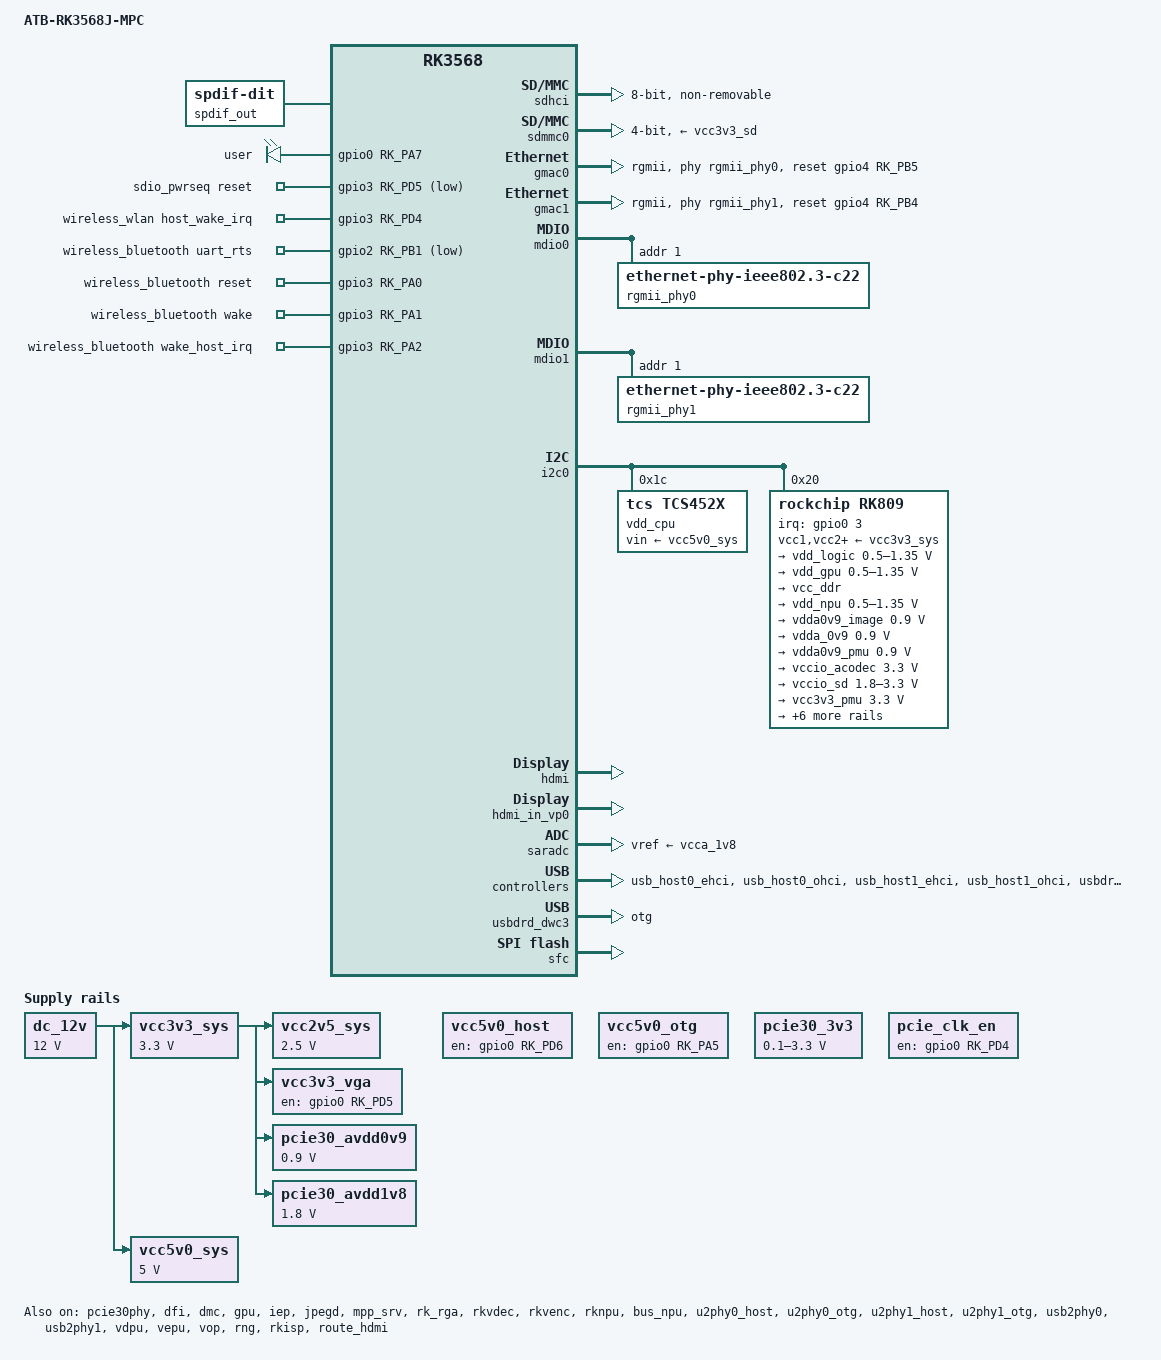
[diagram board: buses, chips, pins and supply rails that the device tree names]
/dts-v1/;

#include <dt-bindings/gpio/gpio.h>
#include <dt-bindings/pwm/pwm.h>
#include <dt-bindings/pinctrl/rockchip.h>
#include <dt-bindings/input/rk-input.h>
#include <dt-bindings/display/drm_mipi_dsi.h>
#include <dt-bindings/sensor-dev.h>
#include "rk3568.dtsi"

/ {
    compatible = "atb,atb-rk3568j-mpc", "rockchip,rk3568";
    
    model = "ATB-RK3568J-MPC";
    
    chosen: chosen {
        bootargs = "earlycon=uart8250,mmio32,0xfe660000 console=ttyFIQ0 root=/dev/mmcblk1p2=rootfs rootfstype=ext4 ro rootwait";
    };

	fiq-debugger {
		compatible = "rockchip,fiq-debugger";
		rockchip,serial-id = <2>;
		rockchip,wake-irq = <0>;
		/* If enable uart uses irq instead of fiq */
		rockchip,irq-mode-enable = <1>;
		rockchip,baudrate = <115200>;  /* Only 115200 and 1500000 */
		interrupts = <GIC_SPI 252 IRQ_TYPE_LEVEL_LOW>;
		pinctrl-names = "default";
		pinctrl-0 = <&uart2m0_xfer>;
		status = "okay";
	};

	dc_12v: dc-12v {
		compatible = "regulator-fixed";
		regulator-name = "dc_12v";
		regulator-always-on;
		regulator-boot-on;
		regulator-min-microvolt = <12000000>;
		regulator-max-microvolt = <12000000>;
	};

	vad_sound: vad-sound {
		status = "disabled";
		compatible = "rockchip,multicodecs-card";
		rockchip,card-name = "rockchip,rk3568-vad";
		rockchip,cpu = <&i2s1_8ch>;
		rockchip,codec = <&rk809_codec>, <&vad>;
	};

	vcc3v3_sys: vcc3v3-sys {
		compatible = "regulator-fixed";
		regulator-name = "vcc3v3_sys";
		regulator-always-on;
		regulator-boot-on;
		regulator-min-microvolt = <3300000>;
		regulator-max-microvolt = <3300000>;
		vin-supply = <&dc_12v>;
	};

	vcc5v0_sys: vcc5v0-sys {
		compatible = "regulator-fixed";
		regulator-name = "vcc5v0_sys";
		regulator-always-on;
		regulator-boot-on;
		regulator-min-microvolt = <5000000>;
		regulator-max-microvolt = <5000000>;
		vin-supply = <&dc_12v>;
	};

	vcc5v0_host: vcc5v0-host-regulator {
		compatible = "regulator-fixed";
		enable-active-high;
		gpio = <&gpio0 RK_PD6 GPIO_ACTIVE_HIGH>;
		pinctrl-names = "default";
		pinctrl-0 = <&vcc5v0_host_en>;
		regulator-name = "vcc5v0_host";
		regulator-always-on;
	};

	vcc5v0_otg: vcc5v0-otg-regulator {
		compatible = "regulator-fixed";
		enable-active-high;
		gpio = <&gpio0 RK_PA5 GPIO_ACTIVE_HIGH>;
		pinctrl-names = "default";
		pinctrl-0 = <&vcc5v0_otg_en>;
		regulator-name = "vcc5v0_otg";
	};

	/*vcc3v3_lcd0_n: vcc3v3-lcd0-n {
		compatible = "regulator-fixed";
		regulator-name = "vcc3v3_lcd0_n";
		regulator-boot-on;
		regulator-state-mem {
			regulator-off-in-suspend;
		};
	};

	vcc3v3_lcd1_n: vcc3v3-lcd1-n {
		compatible = "regulator-fixed";
		regulator-name = "vcc3v3_lcd1_n";
		regulator-boot-on;
		regulator-state-mem {
			regulator-off-in-suspend;
		};
	};*/

	vcc2v5_sys: vcc2v5-ddr {
		compatible = "regulator-fixed";
		regulator-name = "vcc2v5-sys";
		regulator-always-on;
		regulator-boot-on;
		regulator-min-microvolt = <2500000>;
		regulator-max-microvolt = <2500000>;
		vin-supply = <&vcc3v3_sys>;
	};

	vcc3v3_vga: vcc3v3-vga {
		compatible = "regulator-fixed";
		regulator-name = "vcc3v3_vga";
		regulator-always-on;
		regulator-boot-on;
		gpio = <&gpio0 RK_PD5 GPIO_ACTIVE_HIGH>;
		enable-active-high;
		vin-supply = <&vcc3v3_sys>;
	};

	pcie30_avdd0v9: pcie30-avdd0v9 {
		compatible = "regulator-fixed";
		regulator-name = "pcie30_avdd0v9";
		regulator-always-on;
		regulator-boot-on;
		regulator-min-microvolt = <900000>;
		regulator-max-microvolt = <900000>;
		vin-supply = <&vcc3v3_sys>;
	};

	pcie30_avdd1v8: pcie30-avdd1v8 {
		compatible = "regulator-fixed";
		regulator-name = "pcie30_avdd1v8";
		regulator-always-on;
		regulator-boot-on;
		regulator-min-microvolt = <1800000>;
		regulator-max-microvolt = <1800000>;
		vin-supply = <&vcc3v3_sys>;
	};

	pcie30_3v3: gpio-regulator {
		compatible = "regulator-gpio";
		regulator-name = "pcie30_3v3";
		regulator-min-microvolt = <100000>;
		regulator-max-microvolt = <3300000>;
	//	gpios = <&gpio0 RK_PD4 GPIO_ACTIVE_LOW>;
	//	gpios-states = <0x1>;
		states = <100000 0x0 3300000 0x1>;
	};

    
/*
    This is dummy regulator.
    It is used to have ability to activate PCIE clocks
*/
    pcie_clk_en: pcie-clk-en {
        compatible = "regulator-fixed";
        enable-active-high;
        // 1V8_PCIE_PWREN
        gpio = <&gpio0 RK_PD4 GPIO_ACTIVE_HIGH>;
        pinctrl-names = "default";
        pinctrl-0 = <&pcie_clk_en_pin>;
        regulator-name = "pcie_clk_en_pin";
        regulator-always-on;
    };
	
/*
    ATB-RK3568J-MPC

    1V8_PCIE_PWREN -> VT14(NMOS)->PCIe_EN_ -> VT15 (PMOS) -> +3.3v2_M2_CON
    0 -> 1 -> 0
    1 -> 0 -> 1

    +3.3v2_M2_CON supplies device connected to X18 (m.2 B/M)

    1V8_PCIE_PWREN -> VT14(NMOS)->PCIe_EN_ -> VT28 (PMOS) -> +3.3vPCIe
    0 -> 1 -> 0
    1 -> 0 -> 1

    +3.3vPCIe supplies D8 (SFP) and activtes generating PCIE30_REFCLKP/PCIE30_REFCLKN (reference clocks for PCIE3x controller) clocks

    D14 multiplexor is responsible for switching PCIE30_TX1P/PCIE30_TX1N and PCIE30_RX1P/PCIE30_RX1N between X18 and D8(SFP)
*/

	audiopwmout_diff: audiopwmout-diff {
		status = "disabled";
		compatible = "simple-audio-card";
		simple-audio-card,format = "i2s";
		simple-audio-card,name = "rockchip,audiopwmout-diff";
		simple-audio-card,mclk-fs = <256>;
		simple-audio-card,bitclock-master = <&master>;
		simple-audio-card,frame-master = <&master>;
		simple-audio-card,cpu {
			sound-dai = <&i2s3_2ch>;
		};
		master: simple-audio-card,codec {
			sound-dai = <&dig_acodec>;
		};
	};
	
    hdmi_sound: hdmi-sound {
		compatible = "simple-audio-card";
		simple-audio-card,format = "i2s";
		simple-audio-card,mclk-fs = <128>;
		simple-audio-card,name = "rockchip,hdmi";
        rockchip,jack-det;
		
		status = "okay";
		
		simple-audio-card,cpu {
				sound-dai = <&i2s0_8ch>;
		};
		simple-audio-card,codec {
				sound-dai = <&hdmi>;
		};
	};

	rk_headset: rk-headset {
		compatible = "rockchip_headset";
		// headset_gpio = <&gpio3 RK_PC2 GPIO_ACTIVE_LOW>;
		pinctrl-names = "default";
		// pinctrl-0 = <&hp_det>;
        status = "disabled";
	};

	pdmics: dummy-codec {
		status = "disabled";
		compatible = "rockchip,dummy-codec";
		#sound-dai-cells = <0>;
	};

	pdm_mic_array: pdm-mic-array {
		status = "disabled";
		compatible = "simple-audio-card";
		simple-audio-card,name = "rockchip,pdm-mic-array";
		simple-audio-card,cpu {
			sound-dai = <&pdm>;
		};
		simple-audio-card,codec {
			sound-dai = <&pdmics>;
		};
	};

	rk809_sound: rk809-sound {
		compatible = "simple-audio-card";
		simple-audio-card,format = "i2s";
		simple-audio-card,name = "rockchip,rk809-codec";
		simple-audio-card,hp-det-gpio = <&gpio3 RK_PC2 GPIO_ACTIVE_HIGH>;
		simple-audio-card,mclk-fs = <256>;
		simple-audio-card,widgets = "Microphone", "Mic Jack", "Headphone", "Headphone Jack";
        simple-audio-card,routing = "Mic Jack", "MICBIAS1", "IN1P", "Mic Jack", "Headphone Jack", "HPOL", "Headphone Jack", "HPOR";
        /delete-property/ simple-audio-card,hp-det-gpio;
        
        status = "okay";
        
        simple-audio-card,cpu {
			sound-dai = <&i2s1_8ch>;
		};
		simple-audio-card,codec {
			sound-dai = <&rk809_codec>;
		};
		
	};

	spdif-sound {
		status = "okay";
		compatible = "simple-audio-card";
		simple-audio-card,name = "ROCKCHIP,SPDIF";
		simple-audio-card,cpu {
				sound-dai = <&spdif_8ch>;
		};
		simple-audio-card,codec {
				sound-dai = <&spdif_out>;
		};
	};

	spdif_out: spdif-out {
        status = "okay";
        compatible = "linux,spdif-dit";
        #sound-dai-cells = <0>;
	};
	
	test-power {
		status = "okay";
	};

    adc_demo: adc_demo {
        status = "disabled";
        compatible = "firefly,rk356x-adc";
        io-channels = <&saradc 5>;
    };

    led_demo: led_demo {
        status = "okay";
        compatible = "firefly,rk356x-led";
    };

    gpio_demo: gpio_demo {
        status = "disabled";
        compatible = "firefly,rk356x-gpio";
        // VD12 USER
        firefly-gpio = <&gpio0 12 GPIO_ACTIVE_HIGH>;          /* GPIO0_A7 */
        
        //firefly-irq-gpio = <&gpio4 29 IRQ_TYPE_EDGE_RISING>;  /* GPIO4_D5 */
    };

	flash_led: flash-led {
		compatible = "led,rgb13h";
		label = "pwm-flash-led";
		led-max-microamp = <20000>;
		flash-max-microamp = <20000>;
		flash-max-timeout-us = <1000000>;
		pwms = <&pwm11 0 25000 0>;
		rockchip,camera-module-index = <1>;
		rockchip,camera-module-facing = "front";
		status = "disabled";
	};

	atb_leds: leds {
		status = "okay";
		compatible = "gpio-leds";

		user_led: user {
			label = "user";
			linux,default-trigger = "heartbeat";
			default-state = "on";
			// VD12 USER
			gpios = <&gpio0 RK_PA7 GPIO_ACTIVE_HIGH>;
			pinctrl-names = "default";
			pinctrl-0 = <&led_user>;
		};

		/*user_led: user {
			label = "firefly:yellow:user";
			linux,default-trigger = "ir-user-click";
			default-state = "off";
			gpios = <&pca9555 PCA_IO1_2 GPIO_ACTIVE_LOW>;
		};

		fan_ctl: fan-ctl {
			label = "firefly:fan_ctl:user";
			linux,default-trigger = "ir-user-click";
			default-state = "on";
			gpios = <&pca9555 PCA_IO1_0 GPIO_ACTIVE_HIGH>;
		};*/
	};
    
    debug: debug@fd904000 {
		compatible = "rockchip,debug";
		reg = <0x0 0xfd904000 0x0 0x1000>,
			<0x0 0xfd905000 0x0 0x1000>,
			<0x0 0xfd906000 0x0 0x1000>,
			<0x0 0xfd907000 0x0 0x1000>;
	};

	cspmu: cspmu@fd90c000 {
		compatible = "rockchip,cspmu";
		reg = <0x0 0xfd90c000 0x0 0x1000>,
			<0x0 0xfd90d000 0x0 0x1000>,
			<0x0 0xfd90e000 0x0 0x1000>,
			<0x0 0xfd90f000 0x0 0x1000>;
	};

	sdio_pwrseq: sdio-pwrseq {
		compatible = "mmc-pwrseq-simple";
		clocks = <&rk809 1>;
		clock-names = "ext_clock";
		pinctrl-names = "default";
		pinctrl-0 = <&wifi_enable_h>;
		/*
			* On the module itself this is one of these (depending
			* on the actual card populated):
			* - SDIO_RESET_L_WL_REG_ON
			* - PDN (power down when low)
		*/
		reset-gpios = <&gpio3 RK_PD5 GPIO_ACTIVE_LOW>;
        post-power-on-delay-ms = <100>;
        status = "okay";
	};

	wireless_wlan: wireless-wlan {
		compatible = "wlan-platdata";
		rockchip,grf = <&grf>;
		
		wifi_chip_type = "ap6398s";
		//wifi_chip_type = "ap6275s"; // <----------------------------------------------------------------------------------
		
		pinctrl-names = "default";
		pinctrl-0 = <&wifi_host_wake_irq>;
		WIFI,host_wake_irq = <&gpio3 RK_PD4 GPIO_ACTIVE_HIGH>;
        
        status = "okay";
	};

	wireless_bluetooth: wireless-bluetooth {
		compatible = "bluetooth-platdata";
		clocks = <&rk809 1>;
		clock-names = "ext_clock";
		//wifi-bt-power-toggle;
		uart_rts_gpios = <&gpio2 RK_PB1 GPIO_ACTIVE_LOW>;
		pinctrl-names = "default", "rts_gpio";
		pinctrl-0 = <&uart8m0_rtsn>;
		pinctrl-1 = <&uart8_gpios>;
		BT,reset_gpio    = <&gpio3 RK_PA0 GPIO_ACTIVE_HIGH>;
		
		BT,wake_gpio     = <&gpio3 RK_PA1 GPIO_ACTIVE_HIGH>;
		//BT,wake_gpio     = <&gpio3 RK_PB5 GPIO_ACTIVE_HIGH>;// <----------------------------------------------------------------------------------
		
		BT,wake_host_irq = <&gpio3 RK_PA2 GPIO_ACTIVE_HIGH>;
       // BT,wake_host_irq = <&gpio2 RK_PD7 GPIO_ACTIVE_HIGH>;// <----------------------------------------------------------------------------------
        status = "okay";
	};
};

&reserved_memory {
	ramoops: ramoops@110000 {
		compatible = "ramoops";
		reg = <0x0 0x110000 0x0 0xf0000>;
		record-size = <0x20000>;
		console-size = <0x80000>;
		ftrace-size = <0x00000>;
		pmsg-size = <0x50000>;
	};
};


&pmu_io_domains {
	status = "okay";
	pmuio1-supply = <&vcc3v3_pmu>;
	pmuio2-supply = <&vcc3v3_pmu>;
	vccio1-supply = <&vccio_acodec>;
	vccio3-supply = <&vccio_sd>;
	vccio4-supply = <&vcc_1v8>;
	vccio5-supply = <&vcc_3v3>;
	vccio6-supply = <&vcc_1v8>;
	vccio7-supply = <&vcc_3v3>;
};

&nandc0 {
	#address-cells = <1>;
	#size-cells = <0>;
	status = "disabled";

	nand@0 {
		reg = <0>;
		nand-bus-width = <8>;
		nand-ecc-mode = "hw";
		nand-ecc-strength = <16>;
		nand-ecc-step-size = <1024>;
	};
};

/* EMMC0 - D15 */
&sdhci {
	bus-width = <8>;
	supports-emmc;
	non-removable;
	max-frequency = <200000000>;
    pinctrl-names = "default";
	pinctrl-0 = <&emmc_bus8 &emmc_clk &emmc_cmd &emmc_datastrobe>;
	status = "okay";
};

/* SDMMC0 - X21 */
&sdmmc0 {
	max-frequency = <150000000>;
	supports-sd;
	bus-width = <4>;
	cap-mmc-highspeed;
	cap-sd-highspeed;
	disable-wp;
	sd-uhs-sdr104;
	vmmc-supply = <&vcc3v3_sd>;
	vqmmc-supply = <&vccio_sd>;
	pinctrl-names = "default";
	pinctrl-0 = <&sdmmc0_bus4 &sdmmc0_clk &sdmmc0_cmd &sdmmc0_det>;
	status = "okay";
};

&gmac0 {
	phy-mode = "rgmii";
	clock_in_out = "input";
    
    // MB-JD4-RK3568 
    // GMAC0_RSTn_GPIO2_D3
/*
    snps,reset-gpio = <&gpio2 RK_PD3 GPIO_ACTIVE_LOW>;
	snps,reset-active-low;
*/	
	// ATB-RK3568J-MPC
    // RGMII0_RST -> VT5(NMOS) -> RGMII0_RST_
    // 0 -> 1
    // 1 -> 0
	snps,reset-gpio = <&gpio4 RK_PB5 GPIO_ACTIVE_HIGH>;
	snps,reset-active-high;
	
	/* Reset time is 20ms, 100ms for rtl8211f */
	snps,reset-delays-us = <0 20000 100000>;

	assigned-clocks = <&cru SCLK_GMAC0_RX_TX>, <&cru SCLK_GMAC0>;
	assigned-clock-parents = <&cru SCLK_GMAC0_RGMII_SPEED>, <&gmac0_clkin>;

	pinctrl-names = "default";
	pinctrl-0 = <&gmac0_miim
		     &gmac0_tx_bus2
		     &gmac0_rx_bus2
		     &gmac0_rgmii_clk
		     &gmac0_rgmii_bus
		     &gmac0_clkinout>;

	tx_delay = <0x3c>;
	rx_delay = <0x2f>;

	phy-handle = <&rgmii_phy0>;
	status = "ok";
};

&gmac1 {
	phy-mode = "rgmii";
	clock_in_out = "input";
    
    // MB-JD4-RK3568
	// GMAC1_RSTn_GPIO2_D1
/*
    snps,reset-gpio = <&gpio2 RK_PD1 GPIO_ACTIVE_LOW>;
	snps,reset-active-low;
*/
    // ATB-RK3568J-MPC
    // RGMII1_RST -> VT17(NMOS) -> RGMII1_RST_
    // 0 -> 1
    // 1 -> 0
	snps,reset-gpio = <&gpio4 RK_PB4 GPIO_ACTIVE_HIGH>;
	snps,reset-active-high;

	/* Reset time is 20ms, 100ms for rtl8211f */
	snps,reset-delays-us = <0 20000 100000>;

	assigned-clocks = <&cru SCLK_GMAC1_RX_TX>, <&cru SCLK_GMAC1>;
	assigned-clock-parents = <&cru SCLK_GMAC1_RGMII_SPEED>, <&gmac1_clkin>;

	pinctrl-names = "default";

    // MB-JD4-RK3568
/*    
    pinctrl-0 = <&gmac1m1_miim
		     &gmac1m1_tx_bus2
		     &gmac1m1_rx_bus2
		     &gmac1m1_rgmii_clk
		     &gmac1m1_rgmii_bus
		     &gmac1m1_clkinout>;
*/	
	// ATB-RK3568J-MPC

    pinctrl-0 = <&gmac1m0_miim
		     &gmac1m0_tx_bus2
		     &gmac1m0_rx_bus2
		     &gmac1m0_rgmii_clk
		     &gmac1m0_rgmii_bus
		     &gmac1m0_clkinout>;
		     
	tx_delay = <0x4f>;
	rx_delay = <0x26>;

	phy-handle = <&rgmii_phy1>;
	status = "ok";
};

&mdio0 {
	rgmii_phy0: phy@1 {
		compatible = "ethernet-phy-ieee802.3-c22";
		reg = <0x1>;
		led_status_value = <0x6940>;
	};
};

&mdio1 {
	rgmii_phy1: phy@1 {
		compatible = "ethernet-phy-ieee802.3-c22";
		reg = <0x1>;
		led_status_value = <0x6940>;
	};
};

&pcie30phy {
	status = "okay";
};

&pcie3x1 {

    // PCIE30X1_PERSTn -> R115(0) -> D8
    reset-gpios = <&gpio0 RK_PC3 GPIO_ACTIVE_HIGH>;

    vpcie3v3-supply = <&pcie30_3v3>;
    /* rockchip,bifurcation; lane0 when using 1+1 */
    status = "disabled";
};

&pcie3x2 {

    ranges = <  0x00000800 0x0 0xf0000000 0x0 0xf0000000 0x0 0x100000
                0x81000000 0x0 0xf0100000 0x0 0xf0100000 0x0 0x100000
                0x82000000 0x0 0xf0200000 0x0 0xf0200000 0x0 0x1e00000
//              0xc3000000 0x3 0x80000000 0x0 0x40000000 0x0 0x40000000>;
                0xc3000000 0x3 0x80000000 0x3 0x80000000 0x0 0x40000000>;

    // MB-JD4-RK3568
    // reset-gpios = <&gpio2 RK_PD6 GPIO_ACTIVE_HIGH>;
    
    // ATB-RK3568J-MPC
    // PCIE30X2_PERSTn
    reset-gpios = <&gpio0 RK_PC6 GPIO_ACTIVE_HIGH>;
    /*
        PCIE30X2_PERSTn is pulled up to +3.3vPCIe via R116(10K)
        PCIE30X2_PERSTn -> r179(0) -> M2_PCIE_RSTn (X18 m.2 B/M PERST#)
        0 -> 0
        1 -> 1
    */
    
    vpcie3v3-supply = <&pcie30_3v3>;
    /* rockchip,bifurcation; lane1 when using 1+1 */
    status = "disabled";
};

&i2c0 {
	status = "okay";

	vdd_cpu: tcs4525@1c {
		compatible = "tcs,tcs452x";
		reg = <0x1c>;
		vin-supply = <&vcc5v0_sys>;
		regulator-compatible = "fan53555-reg";
		regulator-name = "vdd_cpu";
		regulator-min-microvolt = <712500>;
		regulator-max-microvolt = <1390000>;
		regulator-ramp-delay = <2300>;
		fcs,suspend-voltage-selector = <1>;
		regulator-boot-on;
		regulator-always-on;
		regulator-state-mem {
			regulator-off-in-suspend;
		};
	};

	rk809: pmic@20 {
		compatible = "rockchip,rk809";
		reg = <0x20>;
		interrupt-parent = <&gpio0>;
		interrupts = <3 IRQ_TYPE_LEVEL_LOW>;

		pinctrl-names = "default", "pmic-sleep",
				"pmic-power-off", "pmic-reset";
		pinctrl-0 = <&pmic_int>;
		pinctrl-1 = <&soc_slppin_slp>, <&rk817_slppin_slp>;
		pinctrl-2 = <&soc_slppin_gpio>, <&rk817_slppin_pwrdn>;
		pinctrl-3 = <&soc_slppin_gpio>, <&rk817_slppin_rst>;

		rockchip,system-power-controller;
		wakeup-source;
		#clock-cells = <1>;
		clock-output-names = "rk808-clkout1", "rk808-clkout2";
		//fb-inner-reg-idxs = <2>;
		/* 1: rst regs (default in codes), 0: rst the pmic */
		pmic-reset-func = <0>;
		/* not save the PMIC_POWER_EN register in uboot */
		not-save-power-en = <1>;

		vcc1-supply = <&vcc3v3_sys>;
		vcc2-supply = <&vcc3v3_sys>;
		vcc3-supply = <&vcc3v3_sys>;
		vcc4-supply = <&vcc3v3_sys>;
		vcc5-supply = <&vcc3v3_sys>;
		vcc6-supply = <&vcc3v3_sys>;
		vcc7-supply = <&vcc3v3_sys>;
		vcc8-supply = <&vcc3v3_sys>;
		vcc9-supply = <&vcc3v3_sys>;

		pwrkey {
			status = "okay";
		};

		pinctrl_rk8xx: pinctrl_rk8xx {
			gpio-controller;
			#gpio-cells = <2>;

			rk817_slppin_null: rk817_slppin_null {
				pins = "gpio_slp";
				function = "pin_fun0";
			};

			rk817_slppin_slp: rk817_slppin_slp {
				pins = "gpio_slp";
				function = "pin_fun1";
			};

			rk817_slppin_pwrdn: rk817_slppin_pwrdn {
				pins = "gpio_slp";
				function = "pin_fun2";
			};

			rk817_slppin_rst: rk817_slppin_rst {
				pins = "gpio_slp";
				function = "pin_fun3";
			};
		};

		regulators {
			vdd_logic: DCDC_REG1 {
				regulator-always-on;
				regulator-boot-on;
				regulator-min-microvolt = <500000>;
				regulator-max-microvolt = <1350000>;
				regulator-init-microvolt = <900000>;
				regulator-ramp-delay = <6001>;
				regulator-initial-mode = <0x2>;
				regulator-name = "vdd_logic";
				regulator-state-mem {
					regulator-off-in-suspend;
				};
			};

			vdd_gpu: DCDC_REG2 {
				regulator-always-on;
				regulator-boot-on;
				regulator-min-microvolt = <500000>;
				regulator-max-microvolt = <1350000>;
				regulator-init-microvolt = <900000>;
				regulator-ramp-delay = <6001>;
				regulator-initial-mode = <0x2>;
				regulator-name = "vdd_gpu";
				regulator-state-mem {
					regulator-off-in-suspend;
				};
			};

			vcc_ddr: DCDC_REG3 {
				regulator-always-on;
				regulator-boot-on;
				regulator-initial-mode = <0x2>;
				regulator-name = "vcc_ddr";
				regulator-state-mem {
					regulator-on-in-suspend;
				};
			};

			vdd_npu: DCDC_REG4 {
				regulator-always-on;
				regulator-boot-on;
				regulator-min-microvolt = <500000>;
				regulator-max-microvolt = <1350000>;
				regulator-init-microvolt = <900000>;
				regulator-ramp-delay = <6001>;
				regulator-initial-mode = <0x2>;
				regulator-name = "vdd_npu";
				regulator-state-mem {
					regulator-off-in-suspend;
				};
			};

			vdda0v9_image: LDO_REG1 {
				regulator-boot-on;
				regulator-always-on;
				regulator-min-microvolt = <900000>;
				regulator-max-microvolt = <900000>;
				regulator-name = "vdda0v9_image";
				regulator-state-mem {
					regulator-off-in-suspend;
				};
			};

			vdda_0v9: LDO_REG2 {
				regulator-always-on;
				regulator-boot-on;
				regulator-min-microvolt = <900000>;
				regulator-max-microvolt = <900000>;
				regulator-name = "vdda_0v9";
				regulator-state-mem {
					regulator-off-in-suspend;
				};
			};

			vdda0v9_pmu: LDO_REG3 {
				regulator-always-on;
				regulator-boot-on;
				regulator-min-microvolt = <900000>;
				regulator-max-microvolt = <900000>;
				regulator-name = "vdda0v9_pmu";
				regulator-state-mem {
					regulator-on-in-suspend;
					regulator-suspend-microvolt = <900000>;
				};
			};

			vccio_acodec: LDO_REG4 {
				regulator-always-on;
				regulator-boot-on;
				regulator-min-microvolt = <3300000>;
				regulator-max-microvolt = <3300000>;
				regulator-name = "vccio_acodec";
				regulator-state-mem {
					regulator-off-in-suspend;
				};
			};

			vccio_sd: LDO_REG5 {
				regulator-always-on;
				regulator-boot-on;
				regulator-min-microvolt = <1800000>;
				regulator-max-microvolt = <3300000>;
				regulator-name = "vccio_sd";
				regulator-state-mem {
					regulator-off-in-suspend;
				};
			};

			vcc3v3_pmu: LDO_REG6 {
				regulator-always-on;
				regulator-boot-on;
				regulator-min-microvolt = <3300000>;
				regulator-max-microvolt = <3300000>;
				regulator-name = "vcc3v3_pmu";
				regulator-state-mem {
					regulator-on-in-suspend;
					regulator-suspend-microvolt = <3300000>;
				};
			};

			vcca_1v8: LDO_REG7 {
				regulator-always-on;
				regulator-boot-on;
				regulator-min-microvolt = <1800000>;
				regulator-max-microvolt = <1800000>;
				regulator-name = "vcca_1v8";
				regulator-state-mem {
					regulator-off-in-suspend;
				};
			};

			vcca1v8_pmu: LDO_REG8 {
				regulator-always-on;
				regulator-boot-on;
				regulator-min-microvolt = <1800000>;
				regulator-max-microvolt = <1800000>;
				regulator-name = "vcca1v8_pmu";
				regulator-state-mem {
					regulator-on-in-suspend;
					regulator-suspend-microvolt = <1800000>;
				};
			};

			vcca1v8_image: LDO_REG9 {
				regulator-always-on;
				regulator-boot-on;
				regulator-min-microvolt = <1800000>;
				regulator-max-microvolt = <1800000>;
				regulator-name = "vcca1v8_image";
				regulator-state-mem {
					regulator-off-in-suspend;
				};
			};

			vcc_1v8: DCDC_REG5 {
				regulator-always-on;
				regulator-boot-on;
				regulator-min-microvolt = <1800000>;
				regulator-max-microvolt = <1800000>;
				regulator-name = "vcc_1v8";
				regulator-state-mem {
					regulator-off-in-suspend;
				};
			};

			vcc_3v3: SWITCH_REG1 {
				regulator-always-on;
				regulator-boot-on;
				regulator-name = "vcc_3v3";
				regulator-state-mem {
					regulator-off-in-suspend;
				};
			};

			vcc3v3_sd: SWITCH_REG2 {
				regulator-always-on;
				regulator-boot-on;
				regulator-name = "vcc3v3_sd";
				regulator-state-mem {
					regulator-off-in-suspend;
				};
			};
		};

		rk809_codec: codec {
			#sound-dai-cells = <0>;
			compatible = "rockchip,rk809-codec", "rockchip,rk817-codec";
			clocks = <&cru I2S1_MCLKOUT>;
			clock-names = "mclk";
			assigned-clocks = <&cru I2S1_MCLKOUT>, <&cru I2S1_MCLK_TX_IOE>;
			assigned-clock-rates = <12288000>;
			assigned-clock-parents = <&cru I2S1_MCLKOUT_TX>, <&cru I2S1_MCLKOUT_TX>;
			pinctrl-names = "default","spk_gpio";
			pinctrl-0 = <&i2s1m0_mclk>;
			pinctrl-1 = <&spk_ctl_gpio>;
			hp-volume = <20>;
			spk-volume = <3>;
			//mic-in-differential;

			capture-volume = <0>;
			io-channels = <&saradc 4>;
			hp-det-adc-value = <1000>;
			spk-ctl-gpios = <&gpio3 RK_PC5 GPIO_ACTIVE_HIGH>;
			status = "okay";
		};
	};
};

&i2c1 {
	clock-frequency = <100000>;
	status = "disabled";
};

&i2c2 {
	clock-frequency = <100000>;
	status = "disabled";
};

&i2c3 {
	clock-frequency = <100000>;
	status = "disabled";
};

&i2c4 {
	clock-frequency = <100000>;
	status = "disabled";
};

&i2c5 {
    clock-frequency = <100000>;
	status = "disabled";
};

&rk809_codec {
    hp-ctl-gpios = <&gpio1 RK_PB0 GPIO_ACTIVE_HIGH>;
	// hp-det-adc-value = <300>;
	hp-adc-drift-scope = <300>;

	#sound-dai-cells = <0>;
	compatible = "rockchip,rk809-codec", "rockchip,rk817-codec";
	clocks = <&cru I2S1_MCLKOUT>;
	clock-names = "mclk";
	assigned-clocks = <&cru I2S1_MCLKOUT>, <&cru I2S1_MCLK_TX_IOE>;
	assigned-clock-rates = <12288000>;
	assigned-clock-parents = <&cru I2S1_MCLKOUT_TX>, <&cru I2S1_MCLKOUT_TX>;
	pinctrl-names = "default";
	//pinctrl-0 = <&i2s1m0_mclk &hp_det>;
	hp-volume = <20>;
	spk-volume = <3>;
	status = "okay";
};

&cpu0 {
	cpu-supply = <&vdd_cpu>;
};

&dfi {
	status = "okay";
};

&dmc {
	center-supply = <&vdd_logic>;
	status = "okay";
};

&gpu {
	mali-supply = <&vdd_gpu>;
	status = "okay";
};

&hdmi {
	status = "okay";
};

&hdmi_in_vp0 {
	status = "okay";
};

&hdmi_in_vp1 {
	status = "disabled";
};

&iep {
	status = "okay";
};

&iep_mmu {
	status = "okay";
};

&jpegd {
	status = "okay";
};

&jpegd_mmu {
	status = "okay";
};

&mpp_srv {
	status = "okay";
};

&pwm4 {
	status = "disabled";
};

&pwm5 {
	status = "disabled";
};

&rk_rga {
	status = "okay";
};

&rkvdec {
	status = "okay";
};

&rkvdec_mmu {
	status = "okay";
};

&rkvenc {
	venc-supply = <&vdd_logic>;
	status = "okay";
};

&rkvenc_mmu {
	status = "okay";
};

&rknpu {
	rknpu-supply = <&vdd_npu>;
	status = "okay";
};

&rknpu_mmu {
	status = "okay";
};

&bus_npu {
	bus-supply = <&vdd_logic>;
	pvtm-supply = <&vdd_cpu>;
	status = "okay";
};

&saradc {
	status = "okay";
	vref-supply = <&vcca_1v8>;
};

&tsadc {
	status = "disabled";
};

&u2phy0_host {
	phy-supply = <&vcc5v0_host>;
	status = "okay";
};

&u2phy0_otg {
	vbus-supply = <&vcc5v0_otg>;
	status = "okay";
};

&u2phy1_host {
	phy-supply = <&vcc5v0_host>;
	status = "okay";
};

&u2phy1_otg {
	phy-supply = <&vcc5v0_host>;
	status = "okay";
};

&usb2phy0 {
	status = "okay";
};

&usb2phy1 {
	status = "okay";
};

&usb_host0_ehci {
	status = "okay";
};

&usb_host0_ohci {
	status = "okay";
};

&usb_host1_ehci {
	status = "okay";
};

&usb_host1_ohci {
	status = "okay";
};

&usbdrd_dwc3 {
	dr_mode = "otg";
	extcon = <&usb2phy0>;
	status = "okay";
};

&usbdrd30 {
	status = "okay";
};

&usbhost_dwc3 {
	status = "okay";
};

&usbhost30 {
	status = "okay";
};

&vad {
	rockchip,audio-src = <&i2s1_8ch>;
	rockchip,buffer-time-ms = <128>;
	rockchip,det-channel = <0>;
	rockchip,mode = <0>;
};

&vdpu {
	status = "okay";
};

&vdpu_mmu {
	status = "okay";
};

&vepu {
	status = "okay";
};

&vepu_mmu {
	status = "okay";
};

&vop {
	status = "okay";
	disable-win-move;
	assigned-clocks = <&cru DCLK_VOP0>, <&cru DCLK_VOP1>;
	assigned-clock-parents = <&pmucru PLL_HPLL>, <&cru PLL_VPLL>;
};

&vop_mmu {
	status = "okay";
};


&spi1 {
	status = "disabled";
	max-freq = <48000000>;
	dev-port = <0>;
	pinctrl-0 = <&spi1m1_pins>;
	pinctrl-1 = <&spi1m1_pins_hs>;
	
    spi_demo: spi-demo@00{
        status = "disabled";
        compatible = "firefly,rk356x-spi";
        reg = <0x00>;
        spi-max-frequency = <48000000>;
        /* rk3399 driver support SPI_CPOL | SPI_CPHA | SPI_CS_HIGH */
        //spi-cpha;             /* SPI mode: CPHA=1 */
        //spi-cpol;     /* SPI mode: CPOL=1 */
        //spi-cs-high;
    };
};

&rng {
	status = "okay";
};

&rockchip_suspend {
	status = "disabled";
};

&combphy0_us {
	status = "disabled";
};

&combphy1_usq {
	status = "disabled";
};

&combphy2_psq {
	status = "disabled";
};

&csi2_dphy_hw {
	status = "disabled";
};

&csi2_dphy0 {
	status = "disabled";

};

&rkisp {
	status = "okay";
};

&rkisp_mmu {
	status = "okay";
};

&rkisp_vir0 {
	status = "disabled";
};

&rkisp_vir1 {
	status = "disabled";
};

&sata2 {
	status = "disabled";
};

&can1 {
	status = "disabled";
	compatible = "rockchip,can-1.0";
	assigned-clocks = <&cru CLK_CAN1>;
	assigned-clock-rates = <200000000>;
	pinctrl-names = "default";
	pinctrl-0 = <&can1m1_pins>;
};

&can2 {
	status = "disabled";
	compatible = "rockchip,can-1.0";
	assigned-clocks = <&cru CLK_CAN2>;
	assigned-clock-rates = <200000000>;
	pinctrl-names = "default";
	pinctrl-0 = <&can2m0_pins>;
};

&sfc{
    pinctrl-names = "default";
    pinctrl-0 = <&fspi_pins>;
    assigned-clock-rates = <50000000>;
    status = "okay";
};

&uart3 {
	status = "disabled";
};

&uart4 {
    status = "disabled";
};


&rk809 {
    rtc {
        status = "disabled";
    };
};

&route_hdmi {
    status = "okay";
    connect = <&vp0_out_hdmi>;
};

&pinctrl {

	sdio-pwrseq {
		wifi_enable_h: wifi-enable-h {
			rockchip,pins = <3 RK_PD5 RK_FUNC_GPIO &pcfg_pull_none>;
		};
	};

	wireless-wlan {
		wifi_host_wake_irq: wifi-host-wake-irq {
			rockchip,pins = <3 RK_PD4 RK_FUNC_GPIO &pcfg_pull_down>;
		};
	};

	wireless-bluetooth {
		uart8_gpios: uart8-gpios {
			rockchip,pins = <2 RK_PB1 RK_FUNC_GPIO &pcfg_pull_none>;
		};
	};

	leds {
	    led_user: led-user {
	        rockchip,pins = <0 RK_PA7 RK_FUNC_GPIO &pcfg_pull_none>;
	    };
	};

	pcie {
		pcie_clk_en_pin: pcie-clk-en-pin {
			// 1V8_PCIE_PWREN
			rockchip,pins = <0 RK_PD4 RK_FUNC_GPIO &pcfg_pull_none>;
		};
	};

	pmic {
		pmic_int: pmic_int {
			rockchip,pins =
				<0 RK_PA3 RK_FUNC_GPIO &pcfg_pull_up>;
		};

		soc_slppin_gpio: soc_slppin_gpio {
			rockchip,pins =
				<0 RK_PA2 RK_FUNC_GPIO &pcfg_output_low_pull_down>;
		};

		soc_slppin_slp: soc_slppin_slp {
			rockchip,pins =
				<0 RK_PA2 RK_FUNC_1 &pcfg_pull_up>;
		};

		soc_slppin_rst: soc_slppin_rst {
			rockchip,pins =
				<0 RK_PA2 RK_FUNC_2 &pcfg_pull_none>;
		};

		spk_ctl_gpio: spk_ctl_gpio {
			rockchip,pins = <3 RK_PC5 RK_FUNC_GPIO &pcfg_pull_up>;
		};
	};

	usb {
		vcc5v0_host_en: vcc5v0-host-en {
			rockchip,pins = <0 RK_PD6 RK_FUNC_GPIO &pcfg_pull_none>;
		};

		vcc5v0_otg_en: vcc5v0-otg-en {
			rockchip,pins = <0 RK_PA5 RK_FUNC_GPIO &pcfg_pull_none>;
		};
	};
};
